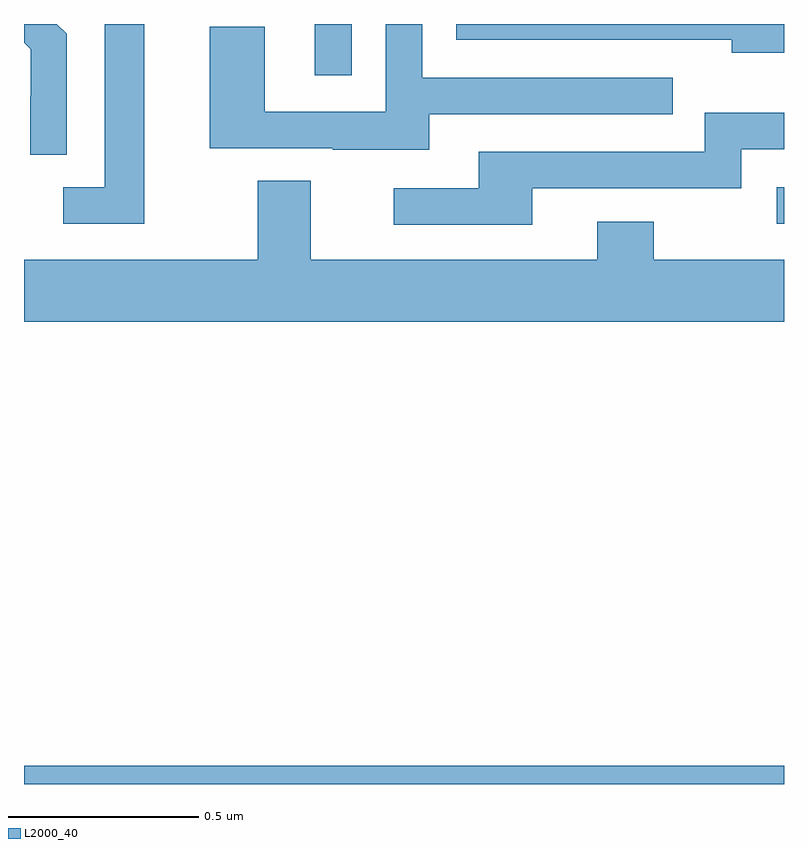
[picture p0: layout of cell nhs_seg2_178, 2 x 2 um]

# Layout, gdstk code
import gdstk
lib = gdstk.Library(unit=1e-6, precision=1e-09)
def R(c, l, rs):  # rectangles x0, y0, x1, y1
    for r in rs: c.add(gdstk.rectangle(r[:2], r[2:], *l))
def P(c, l, *ps):  # polygons
    for p in ps: c.add(gdstk.Polygon(p, *l))
L2000_40 = (2000, 40)

nhs_seg2_178 = lib.new_cell('nhs_seg2_178')
R(nhs_seg2_178, L2000_40, [(113,599.8,115,599.848), (114.981,601.275,115,601.371), (113.765,601.665,113.862,601.8)])
P(nhs_seg2_178, L2000_40, [(113.317,601.8),(113.213,601.8),(113.213,601.371),(113.103,601.371),(113.103,601.275),(113.317,601.275)],
  [(114.067,601.563),(114.707,601.563),(114.707,601.659),(114.048,601.659),(114.048,601.8),(113.952,601.8),(113.952,601.569),(113.634,601.569),(113.634,601.793),(113.489,601.793),(113.489,601.473),(113.813,601.473),(113.813,601.469),(114.067,601.469)],
  [(113.112,601.774),(113.086,601.8),(113,601.8),(113,601.751),(113.018,601.733),(113.018,601.61),(113.016,601.61),(113.016,601.456),(113.112,601.456)],
  [(115,601.8),(114.138,601.8),(114.138,601.758),(114.863,601.758),(114.863,601.724),(115,601.724)],
  [(114.337,601.368),(114.888,601.368),(114.888,601.47),(115,601.47),(115,601.567),(114.792,601.567),(114.792,601.464),(114.197,601.464),(114.197,601.368),(113.973,601.368),(113.973,601.272),(114.337,601.272)],
  [(115,601.18),(114.657,601.18),(114.657,601.279),(114.509,601.279),(114.509,601.18),(113.755,601.18),(113.755,601.388),(113.615,601.388),(113.615,601.18),(113,601.18),(113,601.016),(115,601.016)])

lib.write_gds('nhs_seg2_178.gds')
